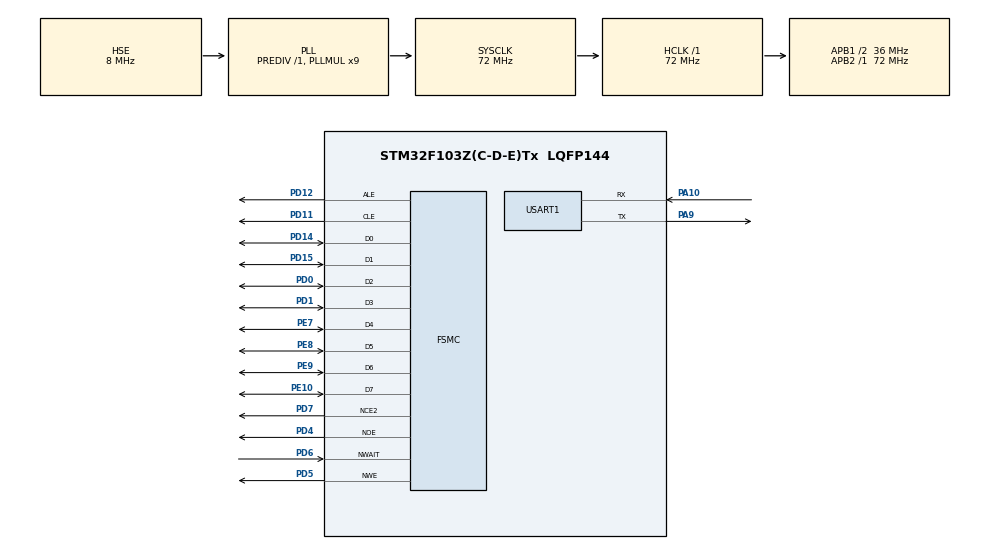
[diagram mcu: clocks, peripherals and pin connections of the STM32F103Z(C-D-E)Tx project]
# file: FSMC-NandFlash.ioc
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FSMC.AttributeSpaceHiZSetupTime1=0x1
FSMC.AttributeSpaceHoldSetupTime1=0x2
FSMC.AttributeSpaceSetupTime1=0x1
FSMC.AttributeSpaceWaitSetupTime1=0x3
FSMC.CommonSpaceHiZSetupTime1=0x1
FSMC.CommonSpaceHoldSetupTime1=0x2
FSMC.CommonSpaceSetupTime1=0x1
FSMC.CommonSpaceWaitSetupTime1=0x3
FSMC.ECCPageSize1=FSMC_NAND_ECC_PAGE_SIZE_512BYTE
FSMC.EccComputation1=FSMC_NAND_ECC_ENABLE
FSMC.NandBlockNbr1=0x400
FSMC.NandBlockSize1=0x40
FSMC.NandPageSize1=0x800
FSMC.NandSpareAreaSize1=0x40
FSMC.NandZoneSize1=0x1
Mcu.Family=STM32F1
Mcu.Name=STM32F103Z(C-D-E)Tx
Mcu.Package=LQFP144
NVIC.PriorityGroup=NVIC_PRIORITYGROUP_4
OSC_IN.Mode=HSE-External-Oscillator
OSC_IN.Signal=RCC_OSC_IN
OSC_OUT.Mode=HSE-External-Oscillator
OSC_OUT.Signal=RCC_OSC_OUT
PA10.Mode=Asynchronous
PA10.Signal=USART1_RX
PA13.Mode=JTAG_5_pins
PA13.Signal=SYS_JTMS-SWDIO
PA14.Mode=JTAG_5_pins
PA14.Signal=SYS_JTCK-SWCLK
PA15.Mode=JTAG_5_pins
PA15.Signal=SYS_JTDI
PA9.Mode=Asynchronous
PA9.Signal=USART1_TX
PB3.Mode=JTAG_5_pins
PB3.Signal=SYS_JTDO-TRACESWO
PB4.Mode=JTAG_5_pins
PB4.Signal=SYS_NJTRST
PD0.Signal=FSMC_D2_DA2
PD1.Signal=FSMC_D3_DA3
PD11.Signal=FSMC_A16_CLE
PD12.Signal=FSMC_A17_ALE
PD14.Signal=FSMC_D0_DA0
PD15.Signal=FSMC_D1_DA1
PD4.Signal=FSMC_NOE
PD5.Signal=FSMC_NWE
PD6.Signal=FSMC_NWAIT
PD7.Mode=NandChipSelect2_1
PD7.Signal=FSMC_NCE2
PE10.Signal=FSMC_D7_DA7
PE7.Signal=FSMC_D4_DA4
PE8.Signal=FSMC_D5_DA5
PE9.Signal=FSMC_D6_DA6
ProjectManager.HeapSize=0x200
ProjectManager.StackSize=0x400
ProjectManager.TargetToolchain=STM32CubeIDE
RCC.AHBFreq_Value=72000000
RCC.APB1CLKDivider=RCC_HCLK_DIV2
RCC.APB1Freq_Value=36000000
RCC.APB1TimFreq_Value=72000000
RCC.APB2Freq_Value=72000000
RCC.APB2TimFreq_Value=72000000
RCC.HCLKFreq_Value=72000000
RCC.PLLMUL=RCC_PLL_MUL9
RCC.PLLSourceVirtual=RCC_PLLSOURCE_HSE
RCC.SYSCLKFreq_VALUE=72000000
RCC.SYSCLKSource=RCC_SYSCLKSOURCE_PLLCLK
RCC.USBFreq_Value=72000000
SH.FSMC_A16_CLE.0=FSMC_CLE,8b-dmux1
SH.FSMC_A17_ALE.0=FSMC_ALE,8b-dmux1
SH.FSMC_D0_DA0.0=FSMC_D0,8b-dmux1
SH.FSMC_D1_DA1.0=FSMC_D1,8b-dmux1
SH.FSMC_D2_DA2.0=FSMC_D2,8b-dmux1
SH.FSMC_D3_DA3.0=FSMC_D3,8b-dmux1
SH.FSMC_D4_DA4.0=FSMC_D4,8b-dmux1
SH.FSMC_D5_DA5.0=FSMC_D5,8b-dmux1
SH.FSMC_D6_DA6.0=FSMC_D6,8b-dmux1
SH.FSMC_D7_DA7.0=FSMC_D7,8b-dmux1
SH.FSMC_NOE.0=FSMC_NOE,8b-dmux1
SH.FSMC_NWAIT.0=FSMC_NWAIT,Wait1
SH.FSMC_NWE.0=FSMC_NWE,8b-dmux1
USART1.VirtualMode=VM_ASYNC
board=FSMC-NandFlash

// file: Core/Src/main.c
/* USER CODE BEGIN Header */
/**
  ******************************************************************************
  * @file           : main.c
  * @brief          : Main program body
  ******************************************************************************
  * @attention
  *
  * <h2><center>&copy; Copyright (c) 2021 STMicroelectronics.
  * All rights reserved.</center></h2>
  *
  * This software component is licensed by ST under BSD 3-Clause license,
  * the "License"; You may not use this file except in compliance with the
  * License. You may obtain a copy of the License at:
  *                        opensource.org/licenses/BSD-3-Clause
  *
  ******************************************************************************
  */
/* USER CODE END Header */
#include "main.h"
#include "usart.h"
#include "gpio.h"
#include "fsmc.h"

/* USER CODE BEGIN Includes */
#include <string.h>
#include "stm32f1xx_hal_nand_K9F1G08U0D.h"
/* USER CODE END Includes */

/* USER CODE BEGIN PV */
/* Private variables ---------------------------------------------------------*/
NAND_IDTypeDef NAND_ID;
NAND_AddressTypeDef NAND_Address;

/* for K9F1G08 */
#define NAND_PAGE_SIZE             ((uint16_t)0x0800) /* 2 * 1024 bytes per page w/o Spare Area */
#define NAND_BLOCK_SIZE            ((uint16_t)0x0040) /* 64 pages per block */
#define NAND_PLANE_SIZE             ((uint16_t)0x0400) /* 1024 Block per plane */
#define NAND_SPARE_AREA_SIZE       ((uint16_t)0x0040) /* last 64 bytes as spare area */
#define NAND_MAX_PLANE              ((uint16_t)0x0001) /* 1 plane of 1024 block */

#define NB_PAGE                 ((uint32_t)1)
#define BUFFER_SIZE             (NAND_PAGE_SIZE * NB_PAGE)

static uint8_t TxBuffer[BUFFER_SIZE];
static uint8_t RxBuffer[BUFFER_SIZE];
uint32_t status;

/* USER CODE END PV */

void SystemClock_Config(void);
/* USER CODE BEGIN PFP */
/* Private function prototypes -----------------------------------------------*/

/* USER CODE END PFP */

int main(void)
{

  /* MCU Configuration--------------------------------------------------------*/

  /* Reset of all peripherals, Initializes the Flash interface and the Systick. */
  HAL_Init();

  /* Configure the system clock */
  SystemClock_Config();

  /* Initialize all configured peripherals */
  MX_GPIO_Init();
  MX_FSMC_Init();
  MX_USART1_UART_Init();

  /* USER CODE BEGIN 2 */
  printf("***** NandFlash Example ******\r\n");
  printf("The CLE and ALE pins on the development board are A17 and A16 but the default code generated by STM32CubeMX uses A16 for CLE and A17 for ALE."
           "So if the source code is generated by STM32CubeMX again, you should manually edit the stm32f4xx_hal_nand.h file and modify:"
           "#define CMD_AREA                   ((uint32_t)(1U<<16U))"
           "#define ADDR_AREA                  ((uint32_t)(1U<<17U))"
           "to:"
           "#define CMD_AREA                   ((uint32_t)(1U<<17U))"
           "#define ADDR_AREA                  ((uint32_t)(1U<<16U))"
           "\r\n"
           );
  /* Read the NAND memory ID */
  HAL_NAND_K9_Read_ID(&hnand1, &NAND_ID);

  printf("Nand Flash ID: 0x%02X%02X%02X%02X\r\n", NAND_ID.Maker_Id, NAND_ID.Device_Id,
            NAND_ID.Third_Id, NAND_ID.Fourth_Id );
  switch (NAND_ID.Maker_Id << 24 | NAND_ID.Device_Id << 16 | NAND_ID.Third_Id << 8 | NAND_ID.Fourth_Id) {
    case 0xECF18015:
      printf("Type: K9F1G08U0A\r\n");
      break;
    case 0xECF10095:
      printf("Type: K9F1G08U0B/C/D/E\r\n");
      break;
    case 0xADF1801D:
      printf("Type: HY27UF081G2A\r\n");
      break;
    default:
      printf("Type: Unknow\r\n");
      break;
  }

  /* Set the destination address for R/W */
  NAND_Address.Plane = 0;
  NAND_Address.Block = 0;
  NAND_Address.Page = 53;

  // Erase the NAND first Block (Block 0)
  // Writing a page (including the spare area following the page) twice or more without erasing will
  //    lead to error bytes in the page (including the spare area following the page).
  // So you have to erase the block containing 64 pages even if just need to write some bytes
  HAL_NAND_K9_Erase_Block(&hnand1, &NAND_Address);

  // Fill the buffer to send
  for (uint32_t i = 0, tmp; i < BUFFER_SIZE; i += 2) {
    tmp = i / 2;
    TxBuffer[i] = (tmp & 0xFF00) >> 8;
    TxBuffer[i + 1] = (tmp & 0x00FF);
  }

  // Write data to FMC NAND memory
  HAL_NAND_K9_Write_Page(&hnand1, &NAND_Address, TxBuffer, NB_PAGE);

  // Read data from FMC NAND memory
  HAL_NAND_K9_Read_Page(&hnand1, &NAND_Address, RxBuffer, NB_PAGE);

  printf("Buffers read: ");
  for(uint32_t i = 0; i < BUFFER_SIZE; i++) {
    if(i % 16 == 0) {
      printf("\r\n");
    }
    if(i % 2 == 0) {
      printf("%02X", RxBuffer[i]);
    } else {
      printf("%02X ", RxBuffer[i]);
    }
  }

  if(memcmp(TxBuffer, RxBuffer,sizeof(TxBuffer)) == 0 ) {
    printf("\r\n\r\n NandFlash Read Write Test OK\r\n");
  } else {
    printf("\r\n\r\n NandFlash Read Write False\r\n");
  }

  // Test Read & Write SpareArea-------------------------------

  // set address
  NAND_Address.Plane = 0;
  NAND_Address.Block = 0;
  NAND_Address.Page = 60;

  // first of all, erase the block including the target page
  HAL_NAND_K9_Erase_Block(&hnand1, &NAND_Address);

  // confirm the operation of erase
  HAL_NAND_K9_Read_SpareArea(&hnand1, &NAND_Address, RxBuffer, NB_PAGE);

  for(uint32_t i = 0; i < NAND_SPARE_AREA_SIZE; i++)
  {
    if(i % 16 == 0) {
 	  printf("\r\n");
 	}

 	if(i % 2 == 0) {
 	  printf("%02X", RxBuffer[i]);
 	} else {
 	  printf("%02X ", RxBuffer[i]);
 	}
   }
   printf("\r\n");

   // write data to SpareArea
   HAL_NAND_K9_Write_SpareArea(&hnand1, &NAND_Address, TxBuffer, NB_PAGE);

   // confirm the operation of Write_SpareArea
   HAL_NAND_K9_Read_SpareArea(&hnand1, &NAND_Address, RxBuffer, NB_PAGE);

   for(uint32_t j = 0; j < NAND_SPARE_AREA_SIZE; j++)
   {
  	 if(j % 16 == 0) {
  	   printf("\r\n");
  	 }
  	 if(j % 2 == 0) {
  	   printf("%02X", RxBuffer[j]);
  	 } else {
  	   printf("%02X ", RxBuffer[j]);
  	 }
   }

   printf(": finished");

   if(memcmp(TxBuffer, RxBuffer,NAND_SPARE_AREA_SIZE) == 0 ) {
     printf("\r\n\r\n NandFlash SpareArea Read Write Test OK\r\n");
   } else {
     printf("\r\n\r\n NandFlash SpareArea Read Write False\r\n");
   }

  /* USER CODE END 2 */

  /* Infinite loop */
  while (1)
  {

  }
}

void SystemClock_Config(void)
{
  RCC_OscInitTypeDef RCC_OscInitStruct = {0};
  RCC_ClkInitTypeDef RCC_ClkInitStruct = {0};

  /** Initializes the RCC Oscillators according to the specified parameters
  * in the RCC_OscInitTypeDef structure.
  */
  RCC_OscInitStruct.OscillatorType = RCC_OSCILLATORTYPE_HSE;
  RCC_OscInitStruct.HSEState = RCC_HSE_ON;
  RCC_OscInitStruct.HSEPredivValue = RCC_HSE_PREDIV_DIV1;
  RCC_OscInitStruct.HSIState = RCC_HSI_ON;
  RCC_OscInitStruct.PLL.PLLState = RCC_PLL_ON;
  RCC_OscInitStruct.PLL.PLLSource = RCC_PLLSOURCE_HSE;
  RCC_OscInitStruct.PLL.PLLMUL = RCC_PLL_MUL9;
  if (HAL_RCC_OscConfig(&RCC_OscInitStruct) != HAL_OK)
  {
    Error_Handler();
  }
  /** Initializes the CPU, AHB and APB buses clocks
  */
  RCC_ClkInitStruct.ClockType = RCC_CLOCKTYPE_HCLK|RCC_CLOCKTYPE_SYSCLK
                              |RCC_CLOCKTYPE_PCLK1|RCC_CLOCKTYPE_PCLK2;
  RCC_ClkInitStruct.SYSCLKSource = RCC_SYSCLKSOURCE_PLLCLK;
  RCC_ClkInitStruct.AHBCLKDivider = RCC_SYSCLK_DIV1;
  RCC_ClkInitStruct.APB1CLKDivider = RCC_HCLK_DIV2;
  RCC_ClkInitStruct.APB2CLKDivider = RCC_HCLK_DIV1;

  if (HAL_RCC_ClockConfig(&RCC_ClkInitStruct, FLASH_LATENCY_2) != HAL_OK)
  {
    Error_Handler();
  }
}

void Error_Handler(void)
{
  __disable_irq();
  while (1)
  {
  }
}

/************************ (C) COPYRIGHT STMicroelectronics *****END OF FILE****/
